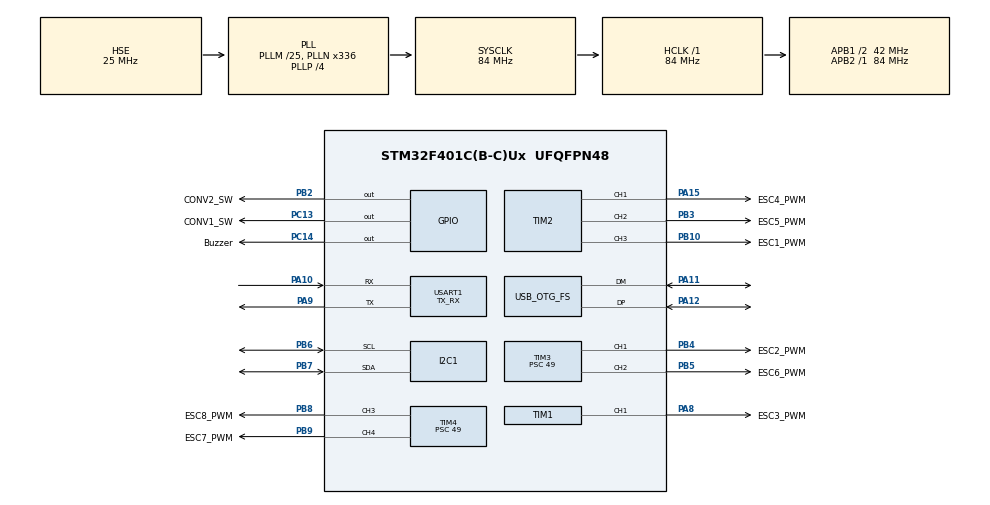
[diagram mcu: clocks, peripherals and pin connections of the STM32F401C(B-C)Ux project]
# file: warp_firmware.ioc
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FREERTOS.Tasks01=motorDrive,24,128,StartMotorDrive,Default,NULL,Dynamic,NULL,NULL;sensorRead,40,128,StartSensorRead,Default,NULL,Dynamic,NULL,NULL;monitoring,8,128,StartMonitoring,Default,NULL,Dynamic,NULL,NULL
Mcu.Family=STM32F4
Mcu.Name=STM32F401C(B-C)Ux
Mcu.Package=UFQFPN48
NVIC.OTG_FS_IRQn=true\:5\:0\:false\:false\:true\:true\:true\:true\:true
NVIC.PriorityGroup=NVIC_PRIORITYGROUP_4
NVIC.TIM1_BRK_TIM9_IRQn=true\:15\:0\:false\:false\:true\:false\:false\:true\:true
NVIC.TIM1_UP_TIM10_IRQn=true\:5\:0\:false\:false\:true\:false\:false\:true\:true
NVIC.TimeBase=TIM1_BRK_TIM9_IRQn
NVIC.TimeBaseIP=TIM9
NVIC.USART1_IRQn=true\:5\:0\:false\:false\:true\:true\:true\:true\:true
PA10.Mode=Asynchronous
PA10.Signal=USART1_RX
PA11.Mode=Device_Only
PA11.Signal=USB_OTG_FS_DM
PA12.Mode=Device_Only
PA12.Signal=USB_OTG_FS_DP
PA13.Mode=Serial_Wire
PA13.Signal=SYS_JTMS-SWDIO
PA14.Mode=Serial_Wire
PA14.Signal=SYS_JTCK-SWCLK
PA15.GPIO_Label=ESC4_PWM
PA15.Signal=S_TIM2_CH1_ETR
PA8.GPIO_Label=ESC3_PWM
PA8.Signal=S_TIM1_CH1
PA9.Mode=Asynchronous
PA9.Signal=USART1_TX
PB10.GPIO_Label=ESC1_PWM
PB10.Signal=S_TIM2_CH3
PB2.GPIO_Label=CONV2_SW
PB2.Signal=GPIO_Output
PB3.GPIO_Label=ESC5_PWM
PB3.Signal=S_TIM2_CH2
PB4.GPIO_Label=ESC2_PWM
PB4.Signal=S_TIM3_CH1
PB5.GPIO_Label=ESC6_PWM
PB5.Signal=S_TIM3_CH2
PB6.Mode=I2C
PB6.Signal=I2C1_SCL
PB7.Mode=I2C
PB7.Signal=I2C1_SDA
PB8.GPIO_Label=ESC8_PWM
PB8.Signal=S_TIM4_CH3
PB9.GPIO_Label=ESC7_PWM
PB9.Signal=S_TIM4_CH4
PC13-ANTI_TAMP.GPIO_Label=CONV1_SW
PC13-ANTI_TAMP.Signal=GPIO_Output
PC14-OSC32_IN.GPIO_Label=Buzzer
PC14-OSC32_IN.Signal=GPIO_Output
PH0\ -\ OSC_IN.Mode=HSE-External-Oscillator
PH0\ -\ OSC_IN.Signal=RCC_OSC_IN
PH1\ -\ OSC_OUT.Mode=HSE-External-Oscillator
PH1\ -\ OSC_OUT.Signal=RCC_OSC_OUT
ProjectManager.HeapSize=0x200
ProjectManager.StackSize=0x400
ProjectManager.TargetToolchain=Makefile
RCC.48MHZClocksFreq_Value=48000000
RCC.AHBFreq_Value=84000000
RCC.APB1CLKDivider=RCC_HCLK_DIV2
RCC.APB1Freq_Value=42000000
RCC.APB1TimFreq_Value=84000000
RCC.APB2Freq_Value=84000000
RCC.APB2TimFreq_Value=84000000
RCC.CortexFreq_Value=84000000
RCC.HCLKFreq_Value=84000000
RCC.HSE_VALUE=25000000
RCC.HSI_VALUE=16000000
RCC.LSE_VALUE=32768
RCC.PLLM=25
RCC.PLLN=336
RCC.PLLP=RCC_PLLP_DIV4
RCC.PLLQ=7
RCC.SYSCLKFreq_VALUE=84000000
RCC.SYSCLKSource=RCC_SYSCLKSOURCE_PLLCLK
RCC.VCOOutputFreq_Value=336000000
SH.S_TIM1_CH1.0=TIM1_CH1,PWM Generation1 CH1
SH.S_TIM2_CH1_ETR.0=TIM2_CH1,PWM Generation1 CH1
SH.S_TIM2_CH2.0=TIM2_CH2,PWM Generation2 CH2
SH.S_TIM2_CH3.0=TIM2_CH3,PWM Generation3 CH3
SH.S_TIM3_CH1.0=TIM3_CH1,PWM Generation1 CH1
SH.S_TIM3_CH2.0=TIM3_CH2,PWM Generation2 CH2
SH.S_TIM4_CH3.0=TIM4_CH3,PWM Generation3 CH3
SH.S_TIM4_CH4.0=TIM4_CH4,PWM Generation4 CH4
TIM1.Channel-PWM\ Generation1\ CH1=TIM_CHANNEL_1
TIM2.Channel-PWM\ Generation1\ CH1=TIM_CHANNEL_1
TIM2.Channel-PWM\ Generation2\ CH2=TIM_CHANNEL_2
TIM2.Channel-PWM\ Generation3\ CH3=TIM_CHANNEL_3
TIM3.Channel-PWM\ Generation1\ CH1=TIM_CHANNEL_1
TIM3.Channel-PWM\ Generation2\ CH2=TIM_CHANNEL_2
TIM3.Period=33599
TIM3.Prescaler=49
TIM4.Channel-PWM\ Generation3\ CH3=TIM_CHANNEL_3
TIM4.Channel-PWM\ Generation4\ CH4=TIM_CHANNEL_4
TIM4.Period=33599
TIM4.Prescaler=49
USART1.Mode=MODE_TX_RX
USART1.VirtualMode=VM_ASYNC
USB_DEVICE.CLASS_NAME_FS=CDC
USB_DEVICE.VirtualMode=Cdc
USB_DEVICE.VirtualModeFS=Cdc_FS
USB_OTG_FS.VirtualMode=Device_Only
VP_CRC_VS_CRC.Mode=CRC_Activate
VP_FREERTOS_VS_CMSIS_V2.Mode=CMSIS_V2
VP_SYS_VS_tim9.Mode=TIM9
VP_TIM3_VS_ClockSourceINT.Mode=Internal
VP_TIM4_VS_ClockSourceINT.Mode=Internal
VP_USB_DEVICE_VS_USB_DEVICE_CDC_FS.Mode=CDC_FS
board=custom

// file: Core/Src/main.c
/* USER CODE BEGIN Header */
/**
  ******************************************************************************
  * @file           : main.c
  * @brief          : Main program body
  ******************************************************************************
  * @attention
  *
  * Copyright (c) 2021 STMicroelectronics.
  * All rights reserved.
  *
  * This software is licensed under terms that can be found in the LICENSE file
  * in the root directory of this software component.
  * If no LICENSE file comes with this software, it is provided AS-IS.
  *
  ******************************************************************************
  */
/* USER CODE END Header */
#include "main.h"
#include "cmsis_os.h"
#include "crc.h"
#include "i2c.h"
#include "tim.h"
#include "usart.h"
#include "usb_device.h"
#include "gpio.h"

/* USER CODE BEGIN Includes */
#include <string.h>
#include "analogdata.h"
#include "motordrive.h"
#include "monitoring.h"

uint8_t uart_rx_buffer[WarpCommand_size];

/* USER CODE END Includes */

void SystemClock_Config(void);
void MX_FREERTOS_Init(void);

int main(void)
{

  /* MCU Configuration--------------------------------------------------------*/

  /* Reset of all peripherals, Initializes the Flash interface and the Systick. */
  HAL_Init();

  /* Configure the system clock */
  SystemClock_Config();

  /* Initialize all configured peripherals */
  MX_GPIO_Init();
  MX_USART1_UART_Init();
  MX_CRC_Init();
  MX_TIM3_Init();
  MX_TIM4_Init();
  MX_I2C1_Init();
  MX_TIM1_Init();
  MX_TIM2_Init();
  /* USER CODE BEGIN 2 */

	HAL_TIM_PWM_Start(&htim2,TIM_CHANNEL_1);
  HAL_TIM_PWM_Start(&htim2,TIM_CHANNEL_2);

  HAL_TIM_PWM_Start(&htim3,TIM_CHANNEL_1);
  HAL_TIM_PWM_Start(&htim3,TIM_CHANNEL_2);

  HAL_TIM_PWM_Start(&htim4,TIM_CHANNEL_1);
  HAL_TIM_PWM_Start(&htim4,TIM_CHANNEL_2);
  HAL_TIM_PWM_Start(&htim4,TIM_CHANNEL_3);
  HAL_TIM_PWM_Start(&htim4,TIM_CHANNEL_4);

	HAL_UART_Receive_IT(&huart1, &uart_rx_buffer[0], WarpCommand_size);

  /* USER CODE END 2 */

  /* Init scheduler */
  osKernelInitialize();  /* Call init function for freertos objects (in freertos.c) */
  MX_FREERTOS_Init();

  /* Start scheduler */
  osKernelStart();

  /* We should never get here as control is now taken by the scheduler */
  /* Infinite loop */
  /* USER CODE BEGIN WHILE */

  /* Enable Converters */
  HAL_GPIO_WritePin(GPIOC, GPIO_PIN_13, GPIO_PIN_SET); // PC.13 is the Converter 1 Switch
  HAL_GPIO_WritePin(GPIOB, GPIO_PIN_2, GPIO_PIN_SET); // PB.2 is the Converter 2 Switch

  /* Make the buzzer sound for a short period */
  HAL_GPIO_WritePin(GPIOC, GPIO_PIN_14, GPIO_PIN_SET);
  HAL_Delay(1000);
  HAL_GPIO_WritePin(GPIOC, GPIO_PIN_14, GPIO_PIN_RESET);

	lcd_init();
	SSD1306_Init();

  printOpeningMessage();

  // Delay for 1 second to allow the message to be read
  HAL_Delay(1000);

  // Clear the OLED screen again after the delay
  //SSD1306_Fill(0x00);

  initialize_ADS_data();
  while (1)
  {

		//HAL_Delay(1);

    /* USER CODE END WHILE */

  }
}

void SystemClock_Config(void)
{
  RCC_OscInitTypeDef RCC_OscInitStruct = {0};
  RCC_ClkInitTypeDef RCC_ClkInitStruct = {0};

  /** Configure the main internal regulator output voltage
  */
  __HAL_RCC_PWR_CLK_ENABLE();
  __HAL_PWR_VOLTAGESCALING_CONFIG(PWR_REGULATOR_VOLTAGE_SCALE2);

  /** Initializes the RCC Oscillators according to the specified parameters
  * in the RCC_OscInitTypeDef structure.
  */
  RCC_OscInitStruct.OscillatorType = RCC_OSCILLATORTYPE_HSE;
  RCC_OscInitStruct.HSEState = RCC_HSE_ON;
  RCC_OscInitStruct.PLL.PLLState = RCC_PLL_ON;
  RCC_OscInitStruct.PLL.PLLSource = RCC_PLLSOURCE_HSE;
  RCC_OscInitStruct.PLL.PLLM = 25;
  RCC_OscInitStruct.PLL.PLLN = 336;
  RCC_OscInitStruct.PLL.PLLP = RCC_PLLP_DIV4;
  RCC_OscInitStruct.PLL.PLLQ = 7;
  if (HAL_RCC_OscConfig(&RCC_OscInitStruct) != HAL_OK)
  {
    Error_Handler();
  }

  /** Initializes the CPU, AHB and APB buses clocks
  */
  RCC_ClkInitStruct.ClockType = RCC_CLOCKTYPE_HCLK|RCC_CLOCKTYPE_SYSCLK
                              |RCC_CLOCKTYPE_PCLK1|RCC_CLOCKTYPE_PCLK2;
  RCC_ClkInitStruct.SYSCLKSource = RCC_SYSCLKSOURCE_PLLCLK;
  RCC_ClkInitStruct.AHBCLKDivider = RCC_SYSCLK_DIV1;
  RCC_ClkInitStruct.APB1CLKDivider = RCC_HCLK_DIV2;
  RCC_ClkInitStruct.APB2CLKDivider = RCC_HCLK_DIV1;

  if (HAL_RCC_ClockConfig(&RCC_ClkInitStruct, FLASH_LATENCY_2) != HAL_OK)
  {
    Error_Handler();
  }
}

/* USER CODE BEGIN 4 */

/* Global UART interrupt callback
 * This function gets triggered when UART reception is complete.
 * The received data is interpreted as a WarpCommand structure.
 */
void HAL_UART_RxCpltCallback(UART_HandleTypeDef *huart) {
    // Check if this interrupt was triggered by the correct UART instance
    if (huart->Instance == huart1.Instance) {
        // Decode the received data into the esc_command structure
        pb_istream_t pb_instream = pb_istream_from_buffer(uart_rx_buffer, WarpCommand_size);
        bool decode_status = pb_decode(&pb_instream, WarpCommand_fields, (void *)&esc_command);

        if (decode_status) {
            // If decoding was successful, set the command ready flag
            cmd_ready_flag = 1;
        } else {
            // Handle decoding error
        }

        // Re-enable the UART interrupt for next data reception
        HAL_UART_Receive_IT(&huart1, uart_rx_buffer, WarpCommand_size);
    }
}

void CDC_FS_Receive_CpltCallback(uint8_t *Buf, uint32_t *Len) {
  // Receive Code Here.
}
/* USER CODE END 4 */

void HAL_TIM_PeriodElapsedCallback(TIM_HandleTypeDef *htim)
{
  if (htim->Instance == TIM9) {
    HAL_IncTick();
  }
}

void Error_Handler(void)
{
  __disable_irq();
  while (1)
  {
  }
}

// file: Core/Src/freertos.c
/* USER CODE BEGIN Header */
/**
  ******************************************************************************
  * File Name          : freertos.c
  * Description        : Code for freertos applications
  ******************************************************************************
  * @attention
  *
  * Copyright (c) 2023 STMicroelectronics.
  * All rights reserved.
  *
  * This software is licensed under terms that can be found in the LICENSE file
  * in the root directory of this software component.
  * If no LICENSE file comes with this software, it is provided AS-IS.
  *
  ******************************************************************************
  */
/* USER CODE END Header */

#include "FreeRTOS.h"
#include "task.h"
#include "main.h"
#include "cmsis_os.h"

/* USER CODE BEGIN Includes */
#include "analogdata.h"
#include "motordrive.h"
#include "monitoring.h"
/* USER CODE END Includes */

/* Definitions for motorDrive */
osThreadId_t motorDriveHandle;
const osThreadAttr_t motorDrive_attributes = {
  .name = "motorDrive",
  .stack_size = 128 * 4,
  .priority = (osPriority_t) osPriorityNormal,
};
/* Definitions for sensorRead */
osThreadId_t sensorReadHandle;
const osThreadAttr_t sensorRead_attributes = {
  .name = "sensorRead",
  .stack_size = 128 * 4,
  .priority = (osPriority_t) osPriorityHigh,
};
/* Definitions for monitoring */
osThreadId_t monitoringHandle;
const osThreadAttr_t monitoring_attributes = {
  .name = "monitoring",
  .stack_size = 128 * 4,
  .priority = (osPriority_t) osPriorityLow,
};

void StartMotorDrive(void *argument);
void StartSensorRead(void *argument);
void StartMonitoring(void *argument);

extern void MX_USB_DEVICE_Init(void);
void MX_FREERTOS_Init(void); /* (MISRA C 2004 rule 8.1) */

void MX_FREERTOS_Init(void) {

  /* Create the thread(s) */
  /* creation of motorDrive */
  motorDriveHandle = osThreadNew(StartMotorDrive, NULL, &motorDrive_attributes);

  /* creation of sensorRead */
  sensorReadHandle = osThreadNew(StartSensorRead, NULL, &sensorRead_attributes);

  /* creation of monitoring */
  monitoringHandle = osThreadNew(StartMonitoring, NULL, &monitoring_attributes);

}

void StartMotorDrive(void *argument)
{
  /* init code for USB_DEVICE */
  MX_USB_DEVICE_Init();
  /* USER CODE BEGIN StartMotorDrive */
  /* Infinite loop */
  for(;;)
  {
    if (cmd_ready_flag == 1){
			cmd_ready_flag = 0;
			DriveMotors((WarpCommand *)&esc_command);
		}

    osDelay(10);
  }
  /* USER CODE END StartMotorDrive */
}

void StartSensorRead(void *argument)
{
  /* USER CODE BEGIN StartSensorRead */
  /* Infinite loop */
  for(;;)
  {
    AnalogDataRequest(START_CONTINUOUS);
    osDelay(1);
  }
  /* USER CODE END StartSensorRead */
}

void StartMonitoring(void *argument)
{
  /* USER CODE BEGIN StartMonitoring */
  /* Infinite loop */
  for(;;)
  {
    printSensorData((Sensors*)&sensors);
    transmitSensorData(&huart1, (Sensors*)&sensors);
    osDelay(100);
  }
  /* USER CODE END StartMonitoring */
}
